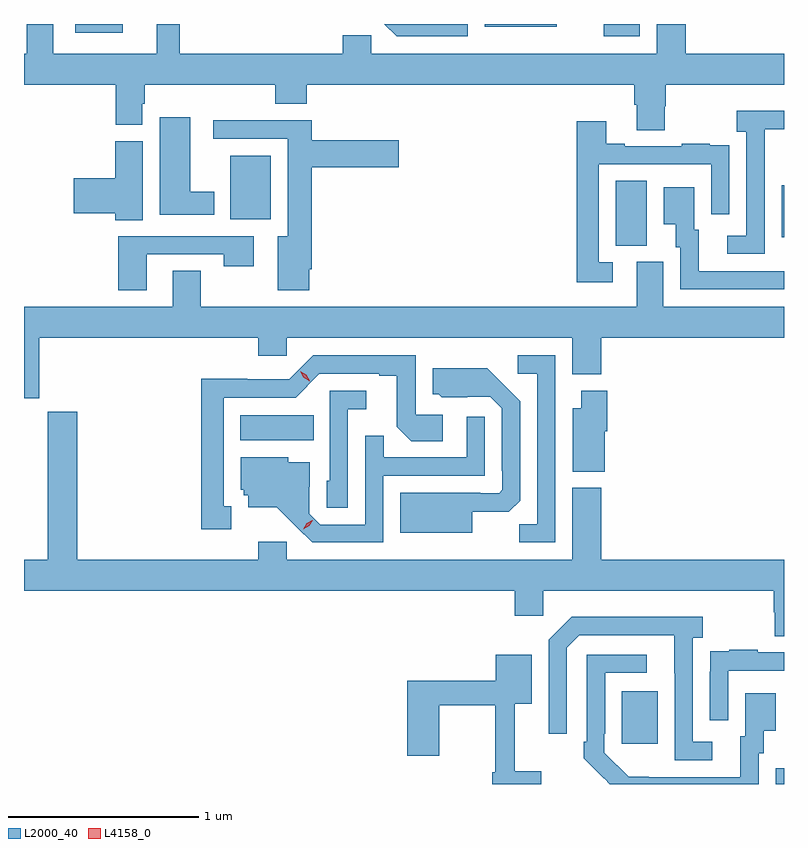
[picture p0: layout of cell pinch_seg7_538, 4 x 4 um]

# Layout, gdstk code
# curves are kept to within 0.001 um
import gdstk
lib = gdstk.Library(unit=1e-6, precision=1e-09)
def R(c, l, rs):  # rectangles x0, y0, x1, y1
    for r in rs: c.add(gdstk.rectangle(r[:2], r[2:], *l))
def P(c, l, *ps):  # polygons
    for p in ps: c.add(gdstk.Polygon(p, *l))
L2000_40 = (2000, 40)
L4158_0 = (4158, 0)

pinch_seg7_538 = lib.new_cell('pinch_seg7_538')
R(pinch_seg7_538, L2000_40, [(138.413,1054.212,138.456,1054.296), (137.603,1054.425,137.791,1054.699), (135.593,1056.02,135.98,1056.154), (137.57,1057.045,137.734,1057.388), (138.443,1057.089,138.456,1057.363), (135.542,1057.184,135.754,1057.519), (137.506,1058.148,137.697,1058.212), (134.726,1058.165,134.977,1058.212), (136.88,1058.198,137.26,1058.212)])
P(pinch_seg7_538, L2000_40, [(137.829,1057.779),(137.834,1057.779),(137.834,1057.892),(138.456,1057.892),(138.456,1058.056),(137.939,1058.056),(137.939,1058.212),(137.786,1058.212),(137.786,1058.056),(136.284,1058.056),(136.284,1058.152),(136.133,1058.152),(136.133,1058.056),(135.277,1058.056),(135.277,1058.212),(135.155,1058.212),(135.155,1058.056),(134.611,1058.056),(134.611,1058.212),(134.471,1058.212),(134.471,1058.056),(134.456,1058.056),(134.456,1057.892),(134.939,1057.892),(134.939,1057.681),(135.079,1057.681),(135.079,1057.791),(135.092,1057.791),(135.092,1057.892),(135.779,1057.892),(135.779,1057.793),(135.944,1057.793),(135.944,1057.892),(137.669,1057.892),(137.669,1057.786),(137.681,1057.786),(137.681,1057.654),(137.829,1057.654)],
  [(136.791,1058.212),(136.353,1058.212),(136.418,1058.148),(136.791,1058.148)],
  [(138.354,1057.459),(138.355,1057.459),(138.355,1057.659),(138.456,1057.659),(138.456,1057.756),(138.207,1057.756),(138.207,1057.646),(138.258,1057.646),(138.258,1057.098),(138.156,1057.098),(138.156,1057.002),(138.354,1057.002)],
  [(135.457,1057.33),(135.331,1057.33),(135.331,1057.72),(135.17,1057.72),(135.17,1057.208),(135.457,1057.208)],
  [(135.958,1056.922),(135.971,1056.922),(135.971,1057.457),(136.429,1057.457),(136.429,1057.599),(135.971,1057.599),(135.971,1057.706),(135.453,1057.706),(135.453,1057.608),(135.845,1057.608),(135.845,1057.096),(135.791,1057.096),(135.791,1056.81),(135.958,1056.81)],
  [(137.554,1056.957),(137.481,1056.957),(137.481,1057.473),(138.072,1057.473),(138.072,1057.212),(138.168,1057.212),(138.168,1057.466),(138.167,1057.466),(138.167,1057.575),(138.065,1057.575),(138.065,1057.582),(137.917,1057.582),(137.917,1057.569),(137.617,1057.569),(137.617,1057.582),(137.521,1057.582),(137.521,1057.699),(137.365,1057.699),(137.365,1056.852),(137.554,1056.852)],
  [(135.082,1057.596),(134.936,1057.596),(134.936,1057.4),(134.718,1057.4),(134.718,1057.217),(134.936,1057.217),(134.936,1057.18),(135.082,1057.18)],
  [(138.456,1056.912),(138.007,1056.912),(138.007,1057.128),(137.983,1057.128),(137.983,1057.354),(137.822,1057.354),(137.822,1057.157),(137.885,1057.157),(137.885,1057.038),(137.91,1057.038),(137.91,1056.816),(138.456,1056.816)],
  [(135.103,1056.999),(135.508,1056.999),(135.508,1056.936),(135.664,1056.936),(135.664,1057.095),(134.951,1057.095),(134.951,1056.81),(135.103,1056.81)],
  [(134.536,1056.56),(135.689,1056.56),(135.689,1056.467),(135.84,1056.467),(135.84,1056.56),(137.342,1056.56),(137.342,1056.368),(137.495,1056.368),(137.495,1056.56),(138.456,1056.56),(138.456,1056.724),(137.821,1056.724),(137.821,1056.96),(137.681,1056.96),(137.681,1056.724),(135.387,1056.724),(135.387,1056.914),(135.239,1056.914),(135.239,1056.724),(134.456,1056.724),(134.456,1056.243),(134.536,1056.243)],
  [(137.253,1056.468),(137.055,1056.468),(137.055,1056.372),(137.157,1056.372),(137.157,1055.579),(137.062,1055.579),(137.062,1055.484),(137.253,1055.484)],
  [(135.547,1055.673),(135.508,1055.673),(135.508,1056.246),(135.885,1056.246),(136.011,1056.372),(136.325,1056.372),(136.325,1056.36),(136.419,1056.36),(136.419,1056.092),(136.495,1056.016),(136.66,1056.016),(136.66,1056.156),(136.518,1056.156),(136.518,1056.468),(135.978,1056.468),(135.852,1056.342),(135.63,1056.342),(135.63,1056.344),(135.39,1056.344),(135.39,1055.553),(135.547,1055.553)],
  [(136.816,1055.645),(137.008,1055.645),(137.067,1055.704),(137.067,1056.226),(136.895,1056.4),(136.607,1056.4),(136.607,1056.264),(136.638,1056.264),(136.654,1056.248),(136.911,1056.249),(136.971,1056.189),(136.971,1055.86),(136.974,1055.86),(136.974,1055.76),(136.956,1055.742),(136.856,1055.742),(136.856,1055.746),(136.436,1055.746),(136.436,1055.534),(136.816,1055.534)],
  [(137.512,1056.069),(137.525,1056.069),(137.525,1056.283),(137.39,1056.283),(137.39,1056.19),(137.345,1056.19),(137.345,1055.855),(137.512,1055.855)],
  [(136.161,1056.185),(136.258,1056.185),(136.258,1056.282),(136.065,1056.282),(136.065,1055.808),(136.05,1055.808),(136.05,1055.665),(136.161,1055.665)],
  [(138.456,1055.392),(137.495,1055.392),(137.495,1055.77),(137.342,1055.77),(137.342,1055.392),(135.84,1055.392),(135.84,1055.488),(135.689,1055.488),(135.689,1055.392),(134.735,1055.392),(134.735,1056.171),(134.582,1056.171),(134.582,1055.392),(134.456,1055.392),(134.456,1055.228),(137.039,1055.228),(137.039,1055.097),(137.19,1055.097),(137.19,1055.228),(138.401,1055.228),(138.401,1055.115),(138.406,1055.115),(138.406,1054.99),(138.456,1054.99)],
  [(136.347,1055.835),(136.881,1055.835),(136.881,1056.145),(136.785,1056.145),(136.785,1055.931),(136.349,1055.931),(136.349,1056.044),(136.251,1056.044),(136.251,1055.577),(136.014,1055.577),(135.957,1055.634),(135.957,1055.776),(135.961,1055.776),(135.961,1055.905),(135.846,1055.905),(135.846,1055.932),(135.596,1055.932),(135.596,1055.76),(135.612,1055.76),(135.612,1055.733),(135.635,1055.733),(135.635,1055.669),(135.787,1055.669),(135.974,1055.484),(136.347,1055.484)],
  [(138.079,1054.434),(137.976,1054.434),(137.976,1054.982),(138.028,1054.982),(138.028,1055.092),(137.338,1055.092),(137.217,1054.971),(137.217,1054.476),(137.313,1054.476),(137.313,1054.929),(137.379,1054.995),(137.879,1054.995),(137.88,1054.338),(138.079,1054.338)],
  [(138.162,1054.809),(138.456,1054.809),(138.456,1054.905),(138.317,1054.905),(138.317,1054.918),(138.169,1054.918),(138.169,1054.911),(138.067,1054.911),(138.067,1054.802),(138.066,1054.802),(138.066,1054.548),(138.162,1054.548)],
  [(138.324,1054.374),(138.349,1054.374),(138.349,1054.493),(138.412,1054.493),(138.412,1054.69),(138.251,1054.69),(138.251,1054.464),(138.227,1054.464),(138.227,1054.248),(137.64,1054.249),(137.511,1054.377),(137.511,1054.477),(137.514,1054.477),(137.514,1054.797),(137.734,1054.797),(137.734,1054.893),(137.418,1054.893),(137.418,1054.435),(137.403,1054.435),(137.403,1054.347),(137.508,1054.242),(137.509,1054.243),(137.54,1054.212),(138.324,1054.212)],
  [(137.179,1054.279),(137.039,1054.279),(137.039,1054.634),(137.128,1054.634),(137.128,1054.891),(136.94,1054.891),(136.94,1054.756),(136.472,1054.756),(136.472,1054.362),(136.642,1054.362),(136.642,1054.627),(136.936,1054.627),(136.936,1054.273),(136.921,1054.273),(136.921,1054.212),(137.179,1054.212)])
P(pinch_seg7_538, L4158_0, [(135.927,1055.554),(135.927,1055.554),(135.944,1055.584),(135.974,1055.6),(135.975,1055.6),(135.975,1055.599),(135.958,1055.57),(135.927,1055.554)],
  [(135.959,1056.333),(135.927,1056.352),(135.91,1056.385),(135.91,1056.385),(135.91,1056.385),(135.942,1056.366),(135.959,1056.334),(135.959,1056.333)])

lib.write_gds('pinch_seg7_538.gds')
